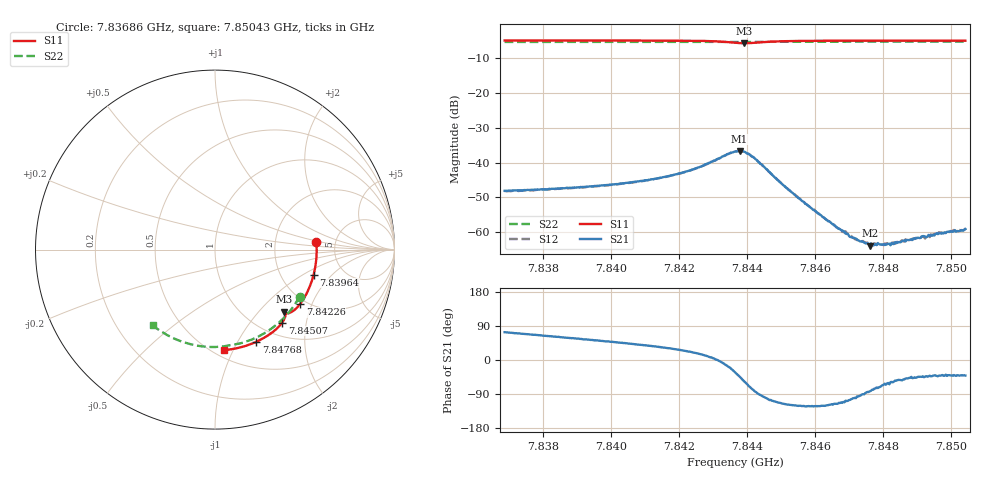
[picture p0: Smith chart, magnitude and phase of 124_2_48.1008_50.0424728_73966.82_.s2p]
#  HZ  S  RI  R  50.00
! Rohde & Schwarz Vector Network Analyzer
! Rohde-Schwarz,ZNB20-2Port,1311601062101988,3.16
! Created: UTC 12/23/2023, 3:47:05 AM
! freq[Hz]  re:S11  im:S11  re:S21  im:S21  re:S12  im:S12  re:S22  im:S22
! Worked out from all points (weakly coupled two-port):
!   401 points, 7.83686 GHz to 7.85043 GHz, reference 50 ohm
!   highest |S21| = -36.68 dB at 7.84378 GHz (marker M1); lowest = -63.8 dB at 7.84762 GHz (marker M2)
!   lowest |S11| = -5.7 dB at 7.84392 GHz (marker M3), VSWR 3.14, Z = 73.3 - j69.3 ohm
!   |S11| at or under -10 dB: nowhere
!   |S22| runs from -5.4 to -5.3 dB; largest |S21 - S12| = 0.0003
!   S11 on the Smith chart (normalised r, x): 7.83686 GHz: 3.54, +0.47; 7.83964 GHz: 3.05, -1.25; 7.84226 GHz: 1.85, -1.64; 7.84507 GHz: 1.25, -1.46; 7.84768 GHz: 0.80, -1.20; 7.85043 GHz: 0.56, -0.93
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7.836863e9  0.5643 0.0446  0.00113 0.00377  0.00117 0.00371  0.4718 -0.2618
7.839136e9  0.5568 -0.1061  0.00253 0.00366  0.00252 0.00364  0.3758 -0.3882
7.839645e9  0.5495 -0.1395  0.00291 0.00363  0.00288 0.0036  0.3495 -0.4123
7.841408e9  0.5065 -0.2517  0.00495 0.00339  0.0049 0.00341  0.2472 -0.4816
7.842256e9  0.474 -0.3032  0.00694 0.00292  0.00689 0.00294  0.1927 -0.506
7.843138e9  0.4241 -0.3489  0.0113 -4.53e-05  0.0113 -0.000138  0.1333 -0.524
7.843647e9  0.3883 -0.353  0.0122 -0.0077  0.0121 -0.00743  0.0992 -0.53
7.843783e9  0.3836 -0.3493  0.0106 -0.0102  0.0105 -0.0101  0.0906 -0.5314
7.843919e9  0.3836 -0.3462  0.00797 -0.0119  0.00791 -0.0117  0.082 -0.5328
7.844224e9  0.3907 -0.3521  0.00156 -0.0114  0.00172 -0.0114  0.0623 -0.5367
7.845072e9  0.3744 -0.407  -0.00203 -0.00427  -0.00203 -0.00433  0.00315 -0.5427
7.84592e9  0.332 -0.451  -0.00112 -0.00184  -0.00115 -0.00186  -0.0567 -0.5406
7.846632e9  0.2922 -0.4799  -0.000515 -0.00108  -0.00051 -0.00105  -0.1063 -0.5336
7.847073e9  0.2662 -0.4955  -0.000198 -0.000833  -0.000255 -0.000845  -0.1365 -0.527
7.847175e9  0.2602 -0.4987  -0.00014 -0.00081  -0.000133 -0.000784  -0.1434 -0.5252
7.847616e9  0.2337 -0.512  8e-05 -0.000638  7.45e-05 -0.000664  -0.1732 -0.5165
7.847684e9  0.2294 -0.5139  0.00013 -0.000647  0.000106 -0.00065  -0.1775 -0.5151
7.847955e9  0.2127 -0.5211  0.000242 -0.000621  0.000238 -0.000621  -0.1955 -0.5085
7.848193e9  0.1979 -0.527  0.0003 -0.000616  0.000353 -0.000631  -0.2112 -0.5025
7.84843e9  0.183 -0.5325  0.000423 -0.000564  0.000411 -0.000599  -0.2265 -0.4959
7.849617e9  0.1064 -0.5526  0.000687 -0.000638  0.000697 -0.000635  -0.2997 -0.4564
7.850431e9  0.0529 -0.5599  0.00084 -0.000728  0.000875 -0.000728  -0.3457 -0.4228
